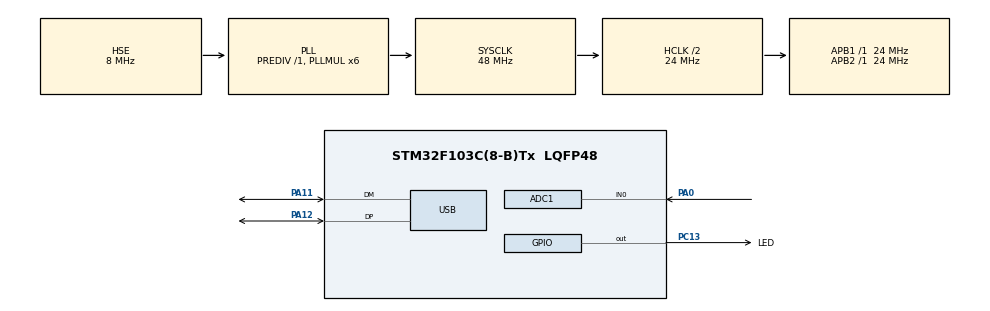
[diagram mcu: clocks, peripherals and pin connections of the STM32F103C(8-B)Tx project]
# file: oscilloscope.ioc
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ADC1.Channel-0\#ChannelRegularConversion=ADC_CHANNEL_0
ADC1.NbrOfConversionFlag=1
ADC1.Rank-0\#ChannelRegularConversion=1
ADC1.SamplingTime-0\#ChannelRegularConversion=ADC_SAMPLETIME_1CYCLE_5
ADC1.master=1
Mcu.Family=STM32F1
Mcu.Name=STM32F103C(8-B)Tx
Mcu.Package=LQFP48
NVIC.PriorityGroup=NVIC_PRIORITYGROUP_4
NVIC.USB_LP_CAN1_RX0_IRQn=true\:0\:0\:false\:false\:true\:false\:true\:true
PA0-WKUP.Signal=ADCx_IN0
PA11.Mode=Device
PA11.Signal=USB_DM
PA12.Mode=Device
PA12.Signal=USB_DP
PC13-TAMPER-RTC.GPIO_Label=LED
PC13-TAMPER-RTC.GPIO_ModeDefaultOutputPP=GPIO_MODE_OUTPUT_PP
PC13-TAMPER-RTC.GPIO_PuPd=GPIO_NOPULL
PC13-TAMPER-RTC.PinState=GPIO_PIN_RESET
PC13-TAMPER-RTC.Signal=GPIO_Output
PD0-OSC_IN.Mode=HSE-External-Oscillator
PD0-OSC_IN.Signal=RCC_OSC_IN
PD1-OSC_OUT.Mode=HSE-External-Oscillator
PD1-OSC_OUT.Signal=RCC_OSC_OUT
ProjectManager.HeapSize=0x200
ProjectManager.StackSize=0x400
ProjectManager.TargetToolchain=MDK-ARM V5.32
RCC.AHBCLKDivider=RCC_SYSCLK_DIV2
RCC.AHBFreq_Value=24000000
RCC.APB1Freq_Value=24000000
RCC.APB1TimFreq_Value=24000000
RCC.APB2Freq_Value=24000000
RCC.APB2TimFreq_Value=24000000
RCC.HCLKFreq_Value=24000000
RCC.PLLMUL=RCC_PLL_MUL6
RCC.PLLSourceVirtual=RCC_PLLSOURCE_HSE
RCC.SYSCLKFreq_VALUE=48000000
RCC.SYSCLKSource=RCC_SYSCLKSOURCE_PLLCLK
RCC.USBFreq_Value=48000000
SH.ADCx_IN0.0=ADC1_IN0,IN0
USB_DEVICE.CLASS_NAME_FS=CDC
USB_DEVICE.VirtualMode=Cdc
USB_DEVICE.VirtualModeFS=Cdc_FS
VP_SYS_VS_ND.Mode=No_Debug
VP_USB_DEVICE_VS_USB_DEVICE_CDC_FS.Mode=CDC_FS
board=custom

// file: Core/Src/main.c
/* USER CODE BEGIN Header */
/**
  ******************************************************************************
  * @file           : main.c
  * @brief          : Main program body
  ******************************************************************************
  * @attention
  *
  * Copyright (c) 2023 STMicroelectronics.
  * All rights reserved.
  *
  * This software is licensed under terms that can be found in the LICENSE file
  * in the root directory of this software component.
  * If no LICENSE file comes with this software, it is provided AS-IS.
  *
  ******************************************************************************
  */
/* USER CODE END Header */
#include "main.h"
#include "usb_device.h"

/* USER CODE BEGIN Includes */
#include "usbd_cdc_if.h"
#include "stdio.h"
/* USER CODE END Includes */

ADC_HandleTypeDef hadc1;

void SystemClock_Config(void);
static void MX_GPIO_Init(void);
static void MX_ADC1_Init(void);

/* USER CODE BEGIN 0 */

void convert(int a){
	static int b[] = {1<<5, 1<<6,1<<2,1<<1,1,1<<4,1<<3};
	int c = 0;
	if(a == 0) c = b[0]+b[1]+b[2]+b[3]+b[4]+b[5];
	if(a == 1) c = b[1]+b[2];
	if(a == 2) c = b[0]+b[1]+b[6]+b[4]+b[3];
	if(a == 3) c = b[0]+b[1]+b[6]+b[2]+b[3];
	if(a == 4) c = b[5]+b[6]+b[1]+b[2];
	if(a == 5) c = b[0]+b[5]+b[6]+b[2]+b[3];
	if(a == 6) c = b[0]+b[5]+b[6]+b[2]+b[3]+b[4];
	if(a == 7) c = b[0]+b[1]+b[2];
	if(a == 8) c = 127;
	if(a == 9) c = b[0]+b[1]+b[2]+b[3]+b[5]+b[6];
	HAL_GPIO_WritePin(GPIOA,c,1);
}

int pow_t(int a,int b){
	int c = 1;
	for(int i = 0;i<b;i++)
		c*=a;
	return c;
}
uint16_t timeout;
/* USER CODE END 0 */

int main(void)
{

  /* MCU Configuration--------------------------------------------------------*/

  /* Reset of all peripherals, Initializes the Flash interface and the Systick. */
  HAL_Init();

  /* Configure the system clock */
  SystemClock_Config();

  /* Initialize all configured peripherals */
  MX_GPIO_Init();
  MX_USB_DEVICE_Init();
  MX_ADC1_Init();

  /* Infinite loop */
  /* USER CODE BEGIN WHILE */
	uint16_t V = 0;
	timeout = 0;
	HAL_GPIO_WritePin(GPIOC,LED_Pin,1);
  while (1)
  {
		if(timeout != 0)
		{
			HAL_ADC_Start(&hadc1);
			HAL_ADC_PollForConversion(&hadc1,timeout);
			HAL_ADC_Stop(&hadc1);
			V = HAL_ADC_GetValue(&hadc1);
			CDC_Transmit_FS((uint8_t*)&V,2);
			HAL_Delay(timeout);
		}
		else
			HAL_Delay(15);
    /* USER CODE END WHILE */

  }
}

void SystemClock_Config(void)
{
  RCC_OscInitTypeDef RCC_OscInitStruct = {0};
  RCC_ClkInitTypeDef RCC_ClkInitStruct = {0};
  RCC_PeriphCLKInitTypeDef PeriphClkInit = {0};

  /** Initializes the RCC Oscillators according to the specified parameters
  * in the RCC_OscInitTypeDef structure.
  */
  RCC_OscInitStruct.OscillatorType = RCC_OSCILLATORTYPE_HSE;
  RCC_OscInitStruct.HSEState = RCC_HSE_ON;
  RCC_OscInitStruct.HSEPredivValue = RCC_HSE_PREDIV_DIV1;
  RCC_OscInitStruct.HSIState = RCC_HSI_ON;
  RCC_OscInitStruct.PLL.PLLState = RCC_PLL_ON;
  RCC_OscInitStruct.PLL.PLLSource = RCC_PLLSOURCE_HSE;
  RCC_OscInitStruct.PLL.PLLMUL = RCC_PLL_MUL6;
  if (HAL_RCC_OscConfig(&RCC_OscInitStruct) != HAL_OK)
  {
    Error_Handler();
  }

  /** Initializes the CPU, AHB and APB buses clocks
  */
  RCC_ClkInitStruct.ClockType = RCC_CLOCKTYPE_HCLK|RCC_CLOCKTYPE_SYSCLK
                              |RCC_CLOCKTYPE_PCLK1|RCC_CLOCKTYPE_PCLK2;
  RCC_ClkInitStruct.SYSCLKSource = RCC_SYSCLKSOURCE_PLLCLK;
  RCC_ClkInitStruct.AHBCLKDivider = RCC_SYSCLK_DIV2;
  RCC_ClkInitStruct.APB1CLKDivider = RCC_HCLK_DIV1;
  RCC_ClkInitStruct.APB2CLKDivider = RCC_HCLK_DIV1;

  if (HAL_RCC_ClockConfig(&RCC_ClkInitStruct, FLASH_LATENCY_1) != HAL_OK)
  {
    Error_Handler();
  }
  PeriphClkInit.PeriphClockSelection = RCC_PERIPHCLK_ADC|RCC_PERIPHCLK_USB;
  PeriphClkInit.AdcClockSelection = RCC_ADCPCLK2_DIV2;
  PeriphClkInit.UsbClockSelection = RCC_USBCLKSOURCE_PLL;
  if (HAL_RCCEx_PeriphCLKConfig(&PeriphClkInit) != HAL_OK)
  {
    Error_Handler();
  }
}

static void MX_ADC1_Init(void)
{

  ADC_ChannelConfTypeDef sConfig = {0};

  /** Common config
  */
  hadc1.Instance = ADC1;
  hadc1.Init.ScanConvMode = ADC_SCAN_DISABLE;
  hadc1.Init.ContinuousConvMode = DISABLE;
  hadc1.Init.DiscontinuousConvMode = DISABLE;
  hadc1.Init.ExternalTrigConv = ADC_SOFTWARE_START;
  hadc1.Init.DataAlign = ADC_DATAALIGN_RIGHT;
  hadc1.Init.NbrOfConversion = 1;
  if (HAL_ADC_Init(&hadc1) != HAL_OK)
  {
    Error_Handler();
  }

  /** Configure Regular Channel
  */
  sConfig.Channel = ADC_CHANNEL_0;
  sConfig.Rank = ADC_REGULAR_RANK_1;
  sConfig.SamplingTime = ADC_SAMPLETIME_1CYCLE_5;
  if (HAL_ADC_ConfigChannel(&hadc1, &sConfig) != HAL_OK)
  {
    Error_Handler();
  }

}

static void MX_GPIO_Init(void)
{
  GPIO_InitTypeDef GPIO_InitStruct = {0};

  /* GPIO Ports Clock Enable */
  __HAL_RCC_GPIOC_CLK_ENABLE();
  __HAL_RCC_GPIOD_CLK_ENABLE();
  __HAL_RCC_GPIOA_CLK_ENABLE();

  /*Configure GPIO pin Output Level */
  HAL_GPIO_WritePin(LED_GPIO_Port, LED_Pin, GPIO_PIN_RESET);

  /*Configure GPIO pin : LED_Pin */
  GPIO_InitStruct.Pin = LED_Pin;
  GPIO_InitStruct.Mode = GPIO_MODE_OUTPUT_PP;
  GPIO_InitStruct.Pull = GPIO_NOPULL;
  GPIO_InitStruct.Speed = GPIO_SPEED_FREQ_LOW;
  HAL_GPIO_Init(LED_GPIO_Port, &GPIO_InitStruct);

}

void Error_Handler(void)
{
  __disable_irq();
  while (1)
  {
  }
}
